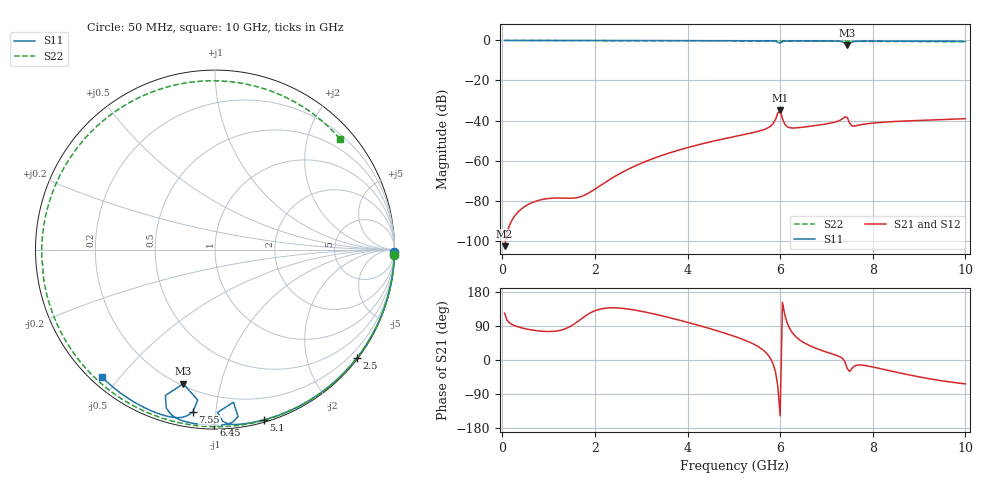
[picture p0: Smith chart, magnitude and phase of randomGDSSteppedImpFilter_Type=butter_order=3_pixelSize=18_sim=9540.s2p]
! freq	dB(S11)	phase(S11)	dB(S12)	phase(S12)
!  dB(S21)	phase(S21)	dB(S22)	phase(S22)
!S-par simulation data
#  GHz  S  DB  R 50
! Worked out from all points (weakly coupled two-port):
!   200 points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, 50 MHz to 10 GHz, reference 50 ohm
!   highest |S21| = -34.96 dB at 6 GHz (marker M1); lowest = -102.8 dB at 50 MHz (marker M2)
!   lowest |S11| = -2.3 dB at 7.45 GHz (marker M3), VSWR 7.62, Z = 10.5 - j38.5 ohm
!   |S11| at or under -10 dB: nowhere
!   |S22| runs from -0.6 to 0.0 dB; largest |S21 - S12| = 0
!   S11 on the Smith chart (normalised r, x): 50 MHz: open; 2.5 GHz: 0.03, -2.95; 5.1 GHz: 0.02, -1.33; 6.45 GHz: 0.02, -0.99; 7.55 GHz: 0.08, -0.87; 10 GHz: 0.03, -0.45
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0.05  -0.00 -0.8  -102.77 123.3  -102.77 123.3  -0.00 -1.6
0.85  -0.01 -13.0  -79.51 76.0  -79.51 76.0  -0.03 -26.7
1.75  -0.03 -26.5  -77.54 112.4  -77.54 112.4  -0.07 -54.1
2.5  -0.05 -37.5  -66.98 137.3  -66.98 137.3  -0.10 -76.2
3.4  -0.07 -50.4  -57.81 118.0  -57.81 118.0  -0.13 -101.8
5.05  -0.11 -73.3  -47.83 60.9  -47.83 60.9  -0.22 -147.5
5.1  -0.12 -73.9  -47.59 58.7  -47.59 58.7  -0.22 -148.9
5.75  -0.17 -83.5  -43.49 11.5  -43.49 11.5  -0.27 -167.3
5.85  -0.24 -85.8  -41.49 -11.1  -41.49 -11.1  -0.28 -170.2
5.95  -0.85 -89.1  -36.20 -70.5  -36.20 -70.5  -0.31 -173.2
6  -1.35 -83.1  -34.96 -147.1  -34.96 -147.1  -0.33 -174.5
6.1  -0.32 -83.9  -41.85 119.3  -41.85 119.3  -0.30 -177.4
6.15  -0.24 -85.3  -43.06 98.5  -43.06 98.5  -0.30 -178.9
6.45  -0.19 -90.5  -43.44 50.6  -43.44 50.6  -0.33 172.1
6.7  -0.20 -94.1  -42.69 34.6  -42.69 34.6  -0.35 164.3
7.25  -0.35 -103.6  -40.29 10.7  -40.29 10.7  -0.40 146.6
7.4  -1.32 -108.8  -38.19 -5.3  -38.19 -5.3  -0.41 141.6
7.45  -2.29 -103.3  -38.47 -22.9  -38.47 -22.9  -0.41 139.9
7.55  -0.79 -97.8  -42.70 -22.2  -42.70 -22.2  -0.42 136.5
8.35  -0.31 -112.2  -40.65 -27.9  -40.65 -27.9  -0.50 107.7
9.15  -0.37 -121.9  -39.86 -47.9  -39.86 -47.9  -0.56 76.3
10  -0.46 -131.8  -39.08 -63.1  -39.08 -63.1  -0.63 41.6
